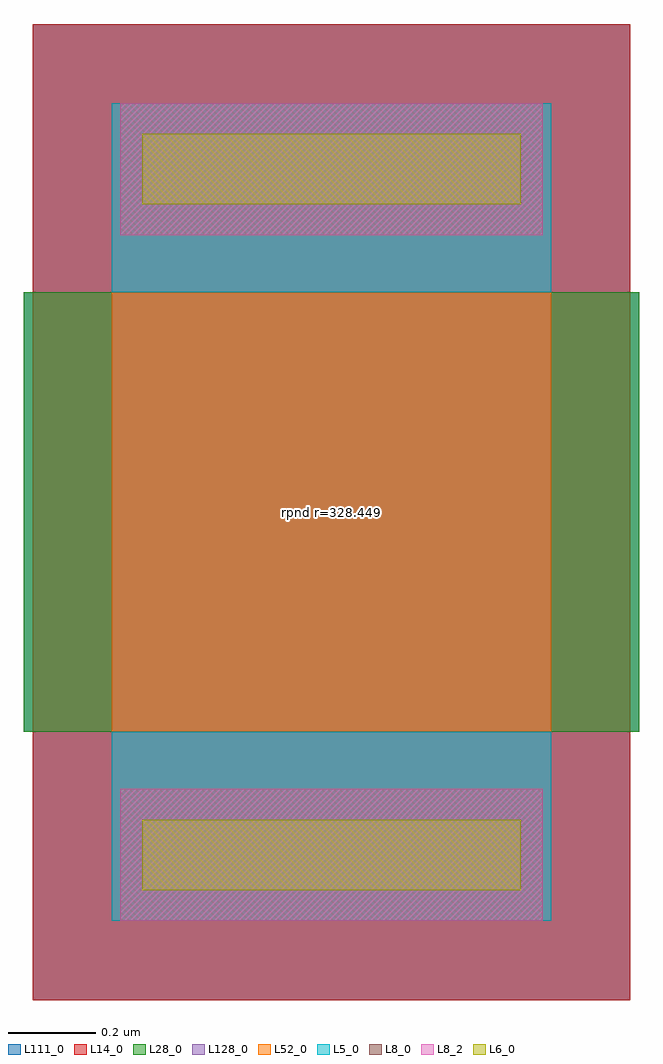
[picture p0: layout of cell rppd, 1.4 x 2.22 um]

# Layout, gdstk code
import gdstk
lib = gdstk.Library(unit=1e-6, precision=1e-09)
def R(c, l, rs):  # rectangles x0, y0, x1, y1
    for r in rs: c.add(gdstk.rectangle(r[:2], r[2:], *l))
L5_0 = (5, 0)
L6_0 = (6, 0)
L8_0 = (8, 0)
L8_2 = (8, 2)
L14_0 = (14, 0)
L28_0 = (28, 0)
L52_0 = (52, 0)
L111_0 = (111, 0)
L128_0 = (128, 0)

rppd = lib.new_cell('rppd')
R(rppd, L5_0, [(0,-0.43,1,-0.2), (0,-0.2,1,0), (0,1,1,1.2), (0,1.2,1,1.43)])
R(rppd, L6_0, [(0.07,-0.36,0.93,-0.2), (0.07,1.2,0.93,1.36)])
R(rppd, L8_0, [(0.02,-0.43,0.98,-0.13), (0.02,1.13,0.98,1.43)])
R(rppd, L8_2, [(0.02,-0.43,0.98,-0.13), (0.02,1.13,0.98,1.43)])
R(rppd, L14_0, [(-0.18,-0.61,1.18,0), (-0.18,0,1.18,1), (-0.18,1,1.18,1.61)])
R(rppd, L28_0, [(-0.2,0,1.2,1)])
R(rppd, L52_0, [(0,0,1,1)])
R(rppd, L111_0, [(-0.18,-0.61,1.18,0), (-0.2,0,1.2,1), (-0.18,1,1.18,1.61)])
R(rppd, L128_0, [(0,0,1,1)])
rppd.add(gdstk.Label('rpnd r=328.449', (0.5,0.5), layer=63, texttype=0))
rppd.add(gdstk.Label('rppd', (0.5,0.5), layer=52, texttype=0))

lib.write_gds('rppd.gds')
